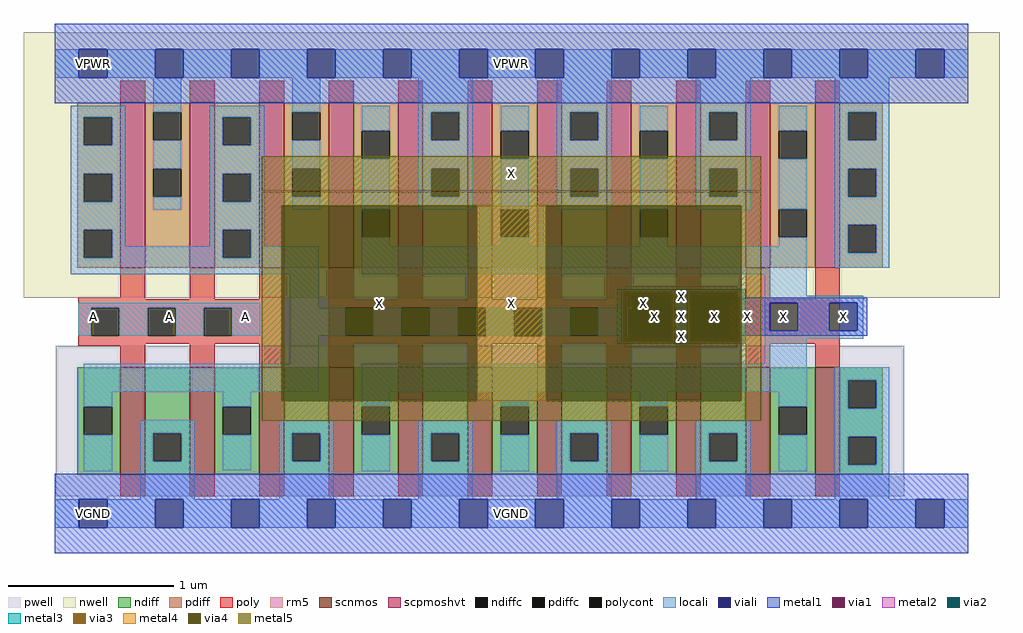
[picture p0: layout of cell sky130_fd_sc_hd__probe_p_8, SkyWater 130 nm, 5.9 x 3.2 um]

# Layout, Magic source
magic
tech sky130B
magscale 1 2
<< nwell >>
rect -38 261 1142 582
<< pwell >>
rect 1 21 1027 203
rect 30 -17 64 21
<< scnmos >>
rect 79 47 109 177
rect 163 47 193 177
rect 247 47 277 177
rect 331 47 361 177
rect 415 47 445 177
rect 499 47 529 177
rect 583 47 613 177
rect 667 47 697 177
rect 751 47 781 177
rect 835 47 865 177
rect 919 47 949 177
<< scpmoshvt >>
rect 79 297 109 497
rect 163 297 193 497
rect 247 297 277 497
rect 331 297 361 497
rect 415 297 445 497
rect 499 297 529 497
rect 583 297 613 497
rect 667 297 697 497
rect 751 297 781 497
rect 835 297 865 497
rect 919 297 949 497
<< ndiff >>
rect 27 129 79 177
rect 27 95 35 129
rect 69 95 79 129
rect 27 47 79 95
rect 109 97 163 177
rect 109 63 119 97
rect 153 63 163 97
rect 109 47 163 63
rect 193 129 247 177
rect 193 95 203 129
rect 237 95 247 129
rect 193 47 247 95
rect 277 97 331 177
rect 277 63 287 97
rect 321 63 331 97
rect 277 47 331 63
rect 361 129 415 177
rect 361 95 371 129
rect 405 95 415 129
rect 361 47 415 95
rect 445 97 499 177
rect 445 63 455 97
rect 489 63 499 97
rect 445 47 499 63
rect 529 129 583 177
rect 529 95 539 129
rect 573 95 583 129
rect 529 47 583 95
rect 613 97 667 177
rect 613 63 623 97
rect 657 63 667 97
rect 613 47 667 63
rect 697 129 751 177
rect 697 95 707 129
rect 741 95 751 129
rect 697 47 751 95
rect 781 97 835 177
rect 781 63 791 97
rect 825 63 835 97
rect 781 47 835 63
rect 865 129 919 177
rect 865 95 875 129
rect 909 95 919 129
rect 865 47 919 95
rect 949 161 1001 177
rect 949 127 959 161
rect 993 127 1001 161
rect 949 93 1001 127
rect 949 59 959 93
rect 993 59 1001 93
rect 949 47 1001 59
<< pdiff >>
rect 27 479 79 497
rect 27 445 35 479
rect 69 445 79 479
rect 27 411 79 445
rect 27 377 35 411
rect 69 377 79 411
rect 27 343 79 377
rect 27 309 35 343
rect 69 309 79 343
rect 27 297 79 309
rect 109 485 163 497
rect 109 451 119 485
rect 153 451 163 485
rect 109 417 163 451
rect 109 383 119 417
rect 153 383 163 417
rect 109 297 163 383
rect 193 479 247 497
rect 193 445 203 479
rect 237 445 247 479
rect 193 411 247 445
rect 193 377 203 411
rect 237 377 247 411
rect 193 343 247 377
rect 193 309 203 343
rect 237 309 247 343
rect 193 297 247 309
rect 277 485 331 497
rect 277 451 287 485
rect 321 451 331 485
rect 277 417 331 451
rect 277 383 287 417
rect 321 383 331 417
rect 277 297 331 383
rect 361 463 415 497
rect 361 429 371 463
rect 405 429 415 463
rect 361 368 415 429
rect 361 334 371 368
rect 405 334 415 368
rect 361 297 415 334
rect 445 485 499 497
rect 445 451 455 485
rect 489 451 499 485
rect 445 417 499 451
rect 445 383 455 417
rect 489 383 499 417
rect 445 297 499 383
rect 529 463 583 497
rect 529 429 539 463
rect 573 429 583 463
rect 529 368 583 429
rect 529 334 539 368
rect 573 334 583 368
rect 529 297 583 334
rect 613 485 667 497
rect 613 451 623 485
rect 657 451 667 485
rect 613 417 667 451
rect 613 383 623 417
rect 657 383 667 417
rect 613 297 667 383
rect 697 463 751 497
rect 697 429 707 463
rect 741 429 751 463
rect 697 368 751 429
rect 697 334 707 368
rect 741 334 751 368
rect 697 297 751 334
rect 781 485 835 497
rect 781 451 791 485
rect 825 451 835 485
rect 781 417 835 451
rect 781 383 791 417
rect 825 383 835 417
rect 781 297 835 383
rect 865 463 919 497
rect 865 429 875 463
rect 909 429 919 463
rect 865 368 919 429
rect 865 334 875 368
rect 909 334 919 368
rect 865 297 919 334
rect 949 485 1001 497
rect 949 451 959 485
rect 993 451 1001 485
rect 949 417 1001 451
rect 949 383 959 417
rect 993 383 1001 417
rect 949 349 1001 383
rect 949 315 959 349
rect 993 315 1001 349
rect 949 297 1001 315
<< ndiffc >>
rect 35 95 69 129
rect 119 63 153 97
rect 203 95 237 129
rect 287 63 321 97
rect 371 95 405 129
rect 455 63 489 97
rect 539 95 573 129
rect 623 63 657 97
rect 707 95 741 129
rect 791 63 825 97
rect 875 95 909 129
rect 959 127 993 161
rect 959 59 993 93
<< pdiffc >>
rect 35 445 69 479
rect 35 377 69 411
rect 35 309 69 343
rect 119 451 153 485
rect 119 383 153 417
rect 203 445 237 479
rect 203 377 237 411
rect 203 309 237 343
rect 287 451 321 485
rect 287 383 321 417
rect 371 429 405 463
rect 371 334 405 368
rect 455 451 489 485
rect 455 383 489 417
rect 539 429 573 463
rect 539 334 573 368
rect 623 451 657 485
rect 623 383 657 417
rect 707 429 741 463
rect 707 334 741 368
rect 791 451 825 485
rect 791 383 825 417
rect 875 429 909 463
rect 875 334 909 368
rect 959 451 993 485
rect 959 383 993 417
rect 959 315 993 349
<< poly >>
rect 79 497 109 523
rect 163 497 193 523
rect 247 497 277 523
rect 331 497 361 523
rect 415 497 445 523
rect 499 497 529 523
rect 583 497 613 523
rect 667 497 697 523
rect 751 497 781 523
rect 835 497 865 523
rect 919 497 949 523
rect 79 261 109 297
rect 28 259 109 261
rect 163 259 193 297
rect 247 259 277 297
rect 28 249 277 259
rect 28 215 44 249
rect 78 215 112 249
rect 146 215 180 249
rect 214 215 277 249
rect 28 205 277 215
rect 28 203 109 205
rect 79 177 109 203
rect 163 177 193 205
rect 247 177 277 205
rect 331 259 361 297
rect 415 259 445 297
rect 499 259 529 297
rect 583 259 613 297
rect 667 259 697 297
rect 751 259 781 297
rect 835 259 865 297
rect 919 259 949 297
rect 331 249 949 259
rect 331 215 351 249
rect 385 215 419 249
rect 453 215 487 249
rect 521 215 555 249
rect 589 215 623 249
rect 657 215 691 249
rect 725 215 759 249
rect 793 215 949 249
rect 331 205 949 215
rect 331 177 361 205
rect 415 177 445 205
rect 499 177 529 205
rect 583 177 613 205
rect 667 177 697 205
rect 751 177 781 205
rect 835 177 865 205
rect 919 177 949 205
rect 79 21 109 47
rect 163 21 193 47
rect 247 21 277 47
rect 331 21 361 47
rect 415 21 445 47
rect 499 21 529 47
rect 583 21 613 47
rect 667 21 697 47
rect 751 21 781 47
rect 835 21 865 47
rect 919 21 949 47
<< polycont >>
rect 44 215 78 249
rect 112 215 146 249
rect 180 215 214 249
rect 351 215 385 249
rect 419 215 453 249
rect 487 215 521 249
rect 555 215 589 249
rect 623 215 657 249
rect 691 215 725 249
rect 759 215 793 249
<< locali >>
rect 0 527 29 561
rect 63 527 121 561
rect 155 527 213 561
rect 247 527 305 561
rect 339 527 397 561
rect 431 527 489 561
rect 523 527 581 561
rect 615 527 673 561
rect 707 527 765 561
rect 799 527 857 561
rect 891 527 949 561
rect 983 527 1041 561
rect 1075 527 1104 561
rect 19 479 85 493
rect 19 445 35 479
rect 69 445 85 479
rect 19 411 85 445
rect 19 377 35 411
rect 69 377 85 411
rect 19 343 85 377
rect 119 485 153 527
rect 119 417 153 451
rect 119 367 153 383
rect 187 479 253 493
rect 187 445 203 479
rect 237 445 253 479
rect 187 411 253 445
rect 187 377 203 411
rect 237 377 253 411
rect 19 309 35 343
rect 69 323 85 343
rect 187 343 253 377
rect 287 485 321 527
rect 287 417 321 451
rect 287 367 321 383
rect 371 463 405 493
rect 371 368 405 429
rect 187 323 203 343
rect 69 309 203 323
rect 237 323 253 343
rect 439 485 505 527
rect 439 451 455 485
rect 489 451 505 485
rect 439 417 505 451
rect 439 383 455 417
rect 489 383 505 417
rect 439 367 505 383
rect 539 463 573 493
rect 539 368 573 429
rect 371 323 405 334
rect 607 485 673 527
rect 607 451 623 485
rect 657 451 673 485
rect 607 417 673 451
rect 607 383 623 417
rect 657 383 673 417
rect 607 367 673 383
rect 707 463 741 493
rect 707 368 741 429
rect 539 323 573 334
rect 775 485 841 527
rect 775 451 791 485
rect 825 451 841 485
rect 775 417 841 451
rect 775 383 791 417
rect 825 383 841 417
rect 775 367 841 383
rect 875 463 909 493
rect 875 368 909 429
rect 707 323 741 334
rect 875 323 909 334
rect 237 309 319 323
rect 19 289 319 309
rect 371 289 909 323
rect 943 485 1009 527
rect 943 451 959 485
rect 993 451 1009 485
rect 943 417 1009 451
rect 943 383 959 417
rect 993 383 1009 417
rect 943 349 1009 383
rect 943 315 959 349
rect 993 315 1009 349
rect 943 297 1009 315
rect 28 249 248 255
rect 28 215 44 249
rect 78 215 112 249
rect 146 215 180 249
rect 214 215 248 249
rect 284 249 319 289
rect 858 263 909 289
rect 858 255 977 263
rect 284 215 351 249
rect 385 215 419 249
rect 453 215 487 249
rect 521 215 555 249
rect 589 215 623 249
rect 657 215 691 249
rect 725 215 759 249
rect 793 215 809 249
rect 858 221 864 255
rect 898 221 936 255
rect 970 221 977 255
rect 284 181 319 215
rect 858 211 977 221
rect 858 181 909 211
rect 35 147 319 181
rect 371 147 909 181
rect 35 129 69 147
rect 203 129 237 147
rect 35 51 69 95
rect 103 97 169 113
rect 103 63 119 97
rect 153 63 169 97
rect 103 17 169 63
rect 371 129 405 147
rect 203 52 237 95
rect 271 97 337 113
rect 271 63 287 97
rect 321 63 337 97
rect 271 17 337 63
rect 539 129 573 147
rect 371 51 405 95
rect 439 97 505 113
rect 439 63 455 97
rect 489 63 505 97
rect 439 17 505 63
rect 707 129 741 147
rect 539 51 573 95
rect 607 97 673 113
rect 607 63 623 97
rect 657 63 673 97
rect 607 17 673 63
rect 875 129 909 147
rect 707 51 741 95
rect 775 97 841 113
rect 775 63 791 97
rect 825 63 841 97
rect 775 17 841 63
rect 875 51 909 95
rect 943 161 1009 177
rect 943 127 959 161
rect 993 127 1009 161
rect 943 93 1009 127
rect 943 59 959 93
rect 993 59 1009 93
rect 943 17 1009 59
rect 0 -17 29 17
rect 63 -17 121 17
rect 155 -17 213 17
rect 247 -17 305 17
rect 339 -17 397 17
rect 431 -17 489 17
rect 523 -17 581 17
rect 615 -17 673 17
rect 707 -17 765 17
rect 799 -17 857 17
rect 891 -17 949 17
rect 983 -17 1041 17
rect 1075 -17 1104 17
<< viali >>
rect 29 527 63 561
rect 121 527 155 561
rect 213 527 247 561
rect 305 527 339 561
rect 397 527 431 561
rect 489 527 523 561
rect 581 527 615 561
rect 673 527 707 561
rect 765 527 799 561
rect 857 527 891 561
rect 949 527 983 561
rect 1041 527 1075 561
rect 864 221 898 255
rect 936 221 970 255
rect 29 -17 63 17
rect 121 -17 155 17
rect 213 -17 247 17
rect 305 -17 339 17
rect 397 -17 431 17
rect 489 -17 523 17
rect 581 -17 615 17
rect 673 -17 707 17
rect 765 -17 799 17
rect 857 -17 891 17
rect 949 -17 983 17
rect 1041 -17 1075 17
<< metal1 >>
rect 0 561 1104 592
rect 0 527 29 561
rect 63 527 121 561
rect 155 527 213 561
rect 247 527 305 561
rect 339 527 397 561
rect 431 527 489 561
rect 523 527 581 561
rect 615 527 673 561
rect 707 527 765 561
rect 799 527 857 561
rect 891 527 949 561
rect 983 527 1041 561
rect 1075 527 1104 561
rect 0 496 1104 527
rect 693 212 699 264
rect 751 212 763 264
rect 815 261 821 264
rect 815 255 982 261
rect 815 221 864 255
rect 898 221 936 255
rect 970 221 982 255
rect 815 215 982 221
rect 815 212 821 215
rect 0 17 1104 48
rect 0 -17 29 17
rect 63 -17 121 17
rect 155 -17 213 17
rect 247 -17 305 17
rect 339 -17 397 17
rect 431 -17 489 17
rect 523 -17 581 17
rect 615 -17 673 17
rect 707 -17 765 17
rect 799 -17 857 17
rect 891 -17 949 17
rect 983 -17 1041 17
rect 1075 -17 1104 17
rect 0 -48 1104 -17
<< via1 >>
rect 699 212 751 264
rect 763 212 815 264
<< metal2 >>
rect 689 266 825 275
rect 745 264 769 266
rect 751 212 763 264
rect 745 210 769 212
rect 689 201 825 210
<< via2 >>
rect 689 264 745 266
rect 769 264 825 266
rect 689 212 699 264
rect 699 212 745 264
rect 769 212 815 264
rect 815 212 825 264
rect 689 210 745 212
rect 769 210 825 212
<< metal3 >>
rect 679 270 835 271
rect 679 206 685 270
rect 749 206 765 270
rect 829 206 835 270
rect 679 205 835 206
<< via3 >>
rect 685 266 749 270
rect 685 210 689 266
rect 689 210 745 266
rect 745 210 749 266
rect 685 206 749 210
rect 765 266 829 270
rect 765 210 769 266
rect 769 210 825 266
rect 825 210 829 266
rect 765 206 829 210
<< metal4 >>
rect 510 136 594 372
<< via4 >>
rect 274 136 510 372
rect 594 270 830 372
rect 594 206 685 270
rect 685 206 749 270
rect 749 206 765 270
rect 765 206 829 270
rect 829 206 830 270
rect 594 136 830 206
<< metal5 >>
rect 250 390 854 432
rect 250 372 854 389
rect 250 136 274 372
rect 510 136 594 372
rect 830 136 854 372
rect 250 112 854 136
<< rm5 >>
rect 250 389 854 390
<< labels >>
flabel metal5 s 250 391 854 432 0 FreeSans 400 0 0 0 X
port 6 nsew signal output
flabel locali s 214 221 248 255 0 FreeSans 200 0 0 0 A
port 1 nsew signal input
flabel locali s 122 221 156 255 0 FreeSans 200 0 0 0 A
port 1 nsew signal input
flabel locali s 30 -17 64 17 0 FreeSans 200 0 0 0 VGND
port 2 nsew ground bidirectional abutment
flabel locali s 30 527 64 561 0 FreeSans 200 0 0 0 VPWR
port 5 nsew power bidirectional abutment
flabel locali s 30 221 64 255 0 FreeSans 200 0 0 0 A
port 1 nsew signal input
flabel nwell s 30 527 64 561 0 FreeSans 200 0 0 0 VPB
port 4 nsew power bidirectional
flabel pwell s 30 -17 64 17 0 FreeSans 200 0 0 0 VNB
port 3 nsew ground bidirectional
flabel metal1 s 30 -17 64 17 0 FreeSans 200 0 0 0 VGND
port 2 nsew ground bidirectional abutment
flabel metal1 s 30 527 64 561 0 FreeSans 200 0 0 0 VPWR
port 5 nsew power bidirectional abutment
rlabel comment s 0 0 0 0 4 probe_p_8
rlabel via4 s 632 174 792 334 1 X
port 6 nsew signal output
rlabel via4 s 312 174 472 334 1 X
port 6 nsew signal output
rlabel via3 s 777 218 817 258 1 X
port 6 nsew signal output
rlabel via3 s 697 218 737 258 1 X
port 6 nsew signal output
rlabel via2 s 777 218 817 258 1 X
port 6 nsew signal output
rlabel via2 s 697 218 737 258 1 X
port 6 nsew signal output
rlabel via1 s 774 223 804 253 1 X
port 6 nsew signal output
rlabel via1 s 710 223 740 253 1 X
port 6 nsew signal output
rlabel viali s 936 221 970 255 1 X
port 6 nsew signal output
rlabel viali s 864 221 898 255 1 X
port 6 nsew signal output
rlabel metal1 s 693 261 821 264 1 X
port 6 nsew signal output
rlabel metal1 s 693 215 982 261 1 X
port 6 nsew signal output
rlabel metal1 s 693 212 821 215 1 X
port 6 nsew signal output
rlabel metal2 s 689 201 825 275 1 X
port 6 nsew signal output
rlabel metal3 s 679 205 835 271 1 X
port 6 nsew signal output
rlabel metal4 s 274 136 830 372 1 X
port 6 nsew signal output
rlabel metal1 s 0 -48 1104 48 1 VGND
port 2 nsew ground bidirectional abutment
rlabel metal1 s 0 496 1104 592 1 VPWR
port 5 nsew power bidirectional abutment
<< properties >>
string FIXED_BBOX 0 0 1104 544
string GDS_END 18906
string GDS_FILE $PDKPATH/libs.ref/sky130_fd_sc_hd/gds/sky130_fd_sc_hd.gds
string GDS_START 8946
string LEFclass CORE
string LEFsite unithd
string LEFsymmetry X Y R90
string path 3.465 1.190 4.105 1.190 
<< end >>
